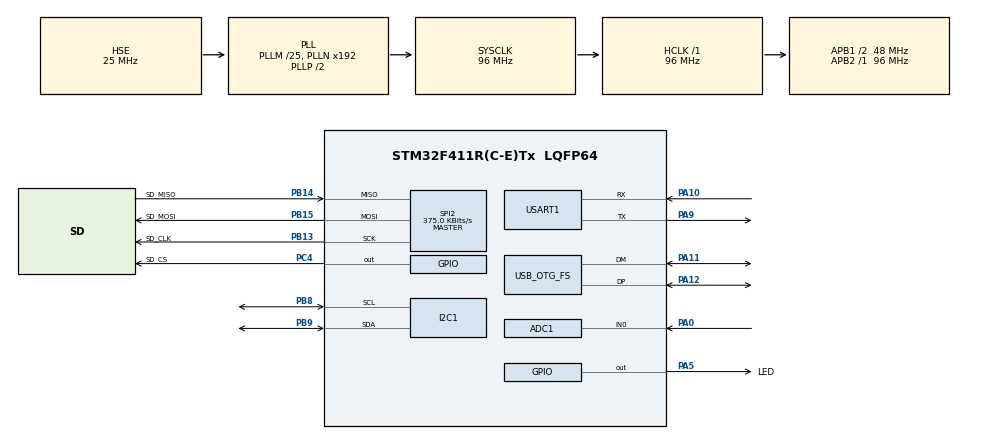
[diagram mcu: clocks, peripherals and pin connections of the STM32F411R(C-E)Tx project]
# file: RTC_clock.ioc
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ADC1.Channel-0\#ChannelRegularConversion=ADC_CHANNEL_0
ADC1.NbrOfConversionFlag=1
ADC1.Rank-0\#ChannelRegularConversion=1
ADC1.SamplingTime-0\#ChannelRegularConversion=ADC_SAMPLETIME_3CYCLES
ADC1.master=1
Dma.Request0=SPI2_RX
Dma.Request1=SPI2_TX
Dma.SPI2_RX.0.Direction=DMA_PERIPH_TO_MEMORY
Dma.SPI2_RX.0.FIFOMode=DMA_FIFOMODE_DISABLE
Dma.SPI2_RX.0.Instance=DMA1_Stream3
Dma.SPI2_RX.0.MemDataAlignment=DMA_MDATAALIGN_BYTE
Dma.SPI2_RX.0.MemInc=DMA_MINC_ENABLE
Dma.SPI2_RX.0.Mode=DMA_NORMAL
Dma.SPI2_RX.0.PeriphDataAlignment=DMA_PDATAALIGN_BYTE
Dma.SPI2_RX.0.PeriphInc=DMA_PINC_DISABLE
Dma.SPI2_RX.0.Priority=DMA_PRIORITY_LOW
Dma.SPI2_TX.1.Direction=DMA_MEMORY_TO_PERIPH
Dma.SPI2_TX.1.FIFOMode=DMA_FIFOMODE_DISABLE
Dma.SPI2_TX.1.Instance=DMA1_Stream4
Dma.SPI2_TX.1.MemDataAlignment=DMA_MDATAALIGN_BYTE
Dma.SPI2_TX.1.MemInc=DMA_MINC_ENABLE
Dma.SPI2_TX.1.Mode=DMA_NORMAL
Dma.SPI2_TX.1.PeriphDataAlignment=DMA_PDATAALIGN_BYTE
Dma.SPI2_TX.1.PeriphInc=DMA_PINC_DISABLE
Dma.SPI2_TX.1.Priority=DMA_PRIORITY_LOW
FATFS._CODE_PAGE=866
FATFS._FS_LOCK=5
FATFS._USE_LFN=1
I2C1.I2C_Mode=I2C_Fast
Mcu.Family=STM32F4
Mcu.Name=STM32F411R(C-E)Tx
Mcu.Package=LQFP64
NVIC.DMA1_Stream3_IRQn=true\:0\:0\:false\:false\:true\:false\:true\:true
NVIC.DMA1_Stream4_IRQn=true\:0\:0\:false\:false\:true\:false\:true\:true
NVIC.OTG_FS_IRQn=true\:0\:0\:false\:false\:true\:false\:true\:true
NVIC.PriorityGroup=NVIC_PRIORITYGROUP_4
PA0-WKUP.Signal=ADCx_IN0
PA10.Mode=Asynchronous
PA10.Signal=USART1_RX
PA11.Mode=Device_Only
PA11.Signal=USB_OTG_FS_DM
PA12.Mode=Device_Only
PA12.Signal=USB_OTG_FS_DP
PA13.Mode=Serial_Wire
PA13.Signal=SYS_JTMS-SWDIO
PA14.Mode=Serial_Wire
PA14.Signal=SYS_JTCK-SWCLK
PA5.GPIO_Label=LED
PA5.Signal=GPIO_Output
PA9.Mode=Asynchronous
PA9.Signal=USART1_TX
PB13.GPIO_Label=SD_CLK
PB13.Mode=Full_Duplex_Master
PB13.Signal=SPI2_SCK
PB14.GPIO_Label=SD_MISO
PB14.Mode=Full_Duplex_Master
PB14.Signal=SPI2_MISO
PB15.GPIO_Label=SD_MOSI
PB15.Mode=Full_Duplex_Master
PB15.Signal=SPI2_MOSI
PB8.Mode=I2C
PB8.Signal=I2C1_SCL
PB9.Mode=I2C
PB9.Signal=I2C1_SDA
PC14-OSC32_IN.Mode=LSE-External-Oscillator
PC14-OSC32_IN.Signal=RCC_OSC32_IN
PC15-OSC32_OUT.Mode=LSE-External-Oscillator
PC15-OSC32_OUT.Signal=RCC_OSC32_OUT
PC4.GPIO_Label=SD_CS
PC4.Signal=GPIO_Output
PH0\ -\ OSC_IN.Mode=HSE-External-Oscillator
PH0\ -\ OSC_IN.Signal=RCC_OSC_IN
PH1\ -\ OSC_OUT.Mode=HSE-External-Oscillator
PH1\ -\ OSC_OUT.Signal=RCC_OSC_OUT
ProjectManager.HeapSize=0x200
ProjectManager.StackSize=0x400
ProjectManager.TargetToolchain=STM32CubeIDE
RCC.48MHZClocksFreq_Value=48000000
RCC.AHBFreq_Value=96000000
RCC.APB1CLKDivider=RCC_HCLK_DIV2
RCC.APB1Freq_Value=48000000
RCC.APB1TimFreq_Value=96000000
RCC.APB2Freq_Value=96000000
RCC.APB2TimFreq_Value=96000000
RCC.CortexFreq_Value=96000000
RCC.EnbaleCSS=true
RCC.HCLKFreq_Value=96000000
RCC.HSE_VALUE=25000000
RCC.HSI_VALUE=16000000
RCC.PLLM=25
RCC.RCC_RTC_Clock_Source=RCC_RTCCLKSOURCE_LSE
RCC.RCC_RTC_Clock_SourceVirtual=RCC_RTCCLKSOURCE_LSE
RCC.SYSCLKFreq_VALUE=96000000
RCC.SYSCLKSource=RCC_SYSCLKSOURCE_PLLCLK
RCC.VCOOutputFreq_Value=192000000
RTC.Date=6
RTC.Hours=17
RTC.Minutes=44
RTC.Month=RTC_MONTH_SEPTEMBER
RTC.WeekDay=RTC_WEEKDAY_FRIDAY
RTC.Year=24
SH.ADCx_IN0.0=ADC1_IN0,IN0
SPI2.BaudRatePrescaler=SPI_BAUDRATEPRESCALER_128
SPI2.CalculateBaudRate=375.0 KBits/s
SPI2.Direction=SPI_DIRECTION_2LINES
SPI2.Mode=SPI_MODE_MASTER
SPI2.VirtualType=VM_MASTER
USART1.VirtualMode=VM_ASYNC
USB_DEVICE.CLASS_NAME_FS=MSC
USB_DEVICE.VirtualMode=Msc
USB_DEVICE.VirtualModeFS=Msc_FS
USB_OTG_FS.VirtualMode=Device_Only
VP_FATFS_VS_Generic.Mode=User_defined
VP_RTC_VS_RTC_Activate.Mode=RTC_Enabled
VP_RTC_VS_RTC_Calendar.Mode=RTC_Calendar
VP_USB_DEVICE_VS_USB_DEVICE_MSC_FS.Mode=MSC_FS
board=custom

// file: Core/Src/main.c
/* USER CODE BEGIN Header */
/**
  ******************************************************************************
  * @file           : main.c
  * @brief          : Main program body
  ******************************************************************************
  * @attention
  *
  * Copyright (c) 2024 STMicroelectronics.
  * All rights reserved.
  *
  * This software is licensed under terms that can be found in the LICENSE file
  * in the root directory of this software component.
  * If no LICENSE file comes with this software, it is provided AS-IS.
  *
  ******************************************************************************
  */
/* USER CODE END Header */
#include "main.h"
#include "fatfs.h"
#include "usb_device.h"

/* USER CODE BEGIN Includes */
#include "stdio.h"
#include "fonts.h"
#include "ssd1306.h"
#include <string.h>

/* USER CODE END Includes */

ADC_HandleTypeDef hadc1;

I2C_HandleTypeDef hi2c1;

RTC_HandleTypeDef hrtc;

SPI_HandleTypeDef hspi2;
DMA_HandleTypeDef hdma_spi2_rx;
DMA_HandleTypeDef hdma_spi2_tx;

UART_HandleTypeDef huart1;

void SystemClock_Config(void);
static void MX_GPIO_Init(void);
static void MX_DMA_Init(void);
static void MX_RTC_Init(void);
static void MX_USART1_UART_Init(void);
static void MX_I2C1_Init(void);
static void MX_ADC1_Init(void);
static void MX_SPI2_Init(void);

/* USER CODE BEGIN 0 */
void uprintf(char *str)
{
	HAL_UART_Transmit(&huart1, (uint8_t*) str, strlen(str), 100);
}

void set_time (uint8_t hr, uint8_t min, uint8_t sec)
{
	RTC_TimeTypeDef sTime = {0};

	sTime.Hours = hr;
	sTime.Minutes = min;
	sTime.Seconds = sec;
	sTime.DayLightSaving = RTC_DAYLIGHTSAVING_NONE;
	sTime.StoreOperation = RTC_STOREOPERATION_RESET;
	if (HAL_RTC_SetTime(&hrtc, &sTime, RTC_FORMAT_BIN) != HAL_OK)
	{
		Error_Handler();
	}
}

void set_date (uint8_t year, uint8_t month, uint8_t date, uint8_t day)  // monday = 1
{

	RTC_DateTypeDef sDate = {0};
	sDate.WeekDay = day;
	sDate.Month = month;
	sDate.Date = date;
	sDate.Year = year;
	if (HAL_RTC_SetDate(&hrtc, &sDate, RTC_FORMAT_BIN) != HAL_OK)
	{
		Error_Handler();
	}

}

void set_alarm (uint8_t hr, uint8_t min, uint8_t sec, uint8_t date)
{
	RTC_AlarmTypeDef sAlarm = {0};
	sAlarm.AlarmTime.Hours = hr;
	sAlarm.AlarmTime.Minutes = min;
	sAlarm.AlarmTime.Seconds = sec;
	sAlarm.AlarmTime.SubSeconds = 0;
	sAlarm.AlarmTime.DayLightSaving = RTC_DAYLIGHTSAVING_NONE;
	sAlarm.AlarmTime.StoreOperation = RTC_STOREOPERATION_RESET;
	sAlarm.AlarmMask = RTC_ALARMMASK_NONE;
	sAlarm.AlarmSubSecondMask = RTC_ALARMSUBSECONDMASK_ALL;
	sAlarm.AlarmDateWeekDaySel = RTC_ALARMDATEWEEKDAYSEL_DATE;
	sAlarm.AlarmDateWeekDay = date;
	sAlarm.Alarm = RTC_ALARM_A;
	if (HAL_RTC_SetAlarm_IT(&hrtc, &sAlarm, RTC_FORMAT_BIN) != HAL_OK)
	{
		Error_Handler();
	}
}

void get_time_date(char *time, char *date)
{
  RTC_DateTypeDef gDate;
  RTC_TimeTypeDef gTime;

  /* Get the RTC current Time */
  HAL_RTC_GetTime(&hrtc, &gTime, RTC_FORMAT_BIN);
  /* Get the RTC current Date */
  HAL_RTC_GetDate(&hrtc, &gDate, RTC_FORMAT_BIN);

  /* Display time Format: hh:mm:ss */
  sprintf((char*)time,"%02d:%02d:%02d",gTime.Hours, gTime.Minutes, gTime.Seconds);

  /* Display date Format: dd-mm-yyyy */
  sprintf((char*)date,"%02d-%02d-%2d",gDate.Date, gDate.Month, 2000 + gDate.Year);
}

void HAL_RTC_AlarmAEventCallback(RTC_HandleTypeDef *hrtc)
{
	HAL_GPIO_WritePin(GPIOA, GPIO_PIN_5, 1);  // turn the LED ON
}

char timeData[15];
char dateData[15];
int row = 0;
int col = 0;
/* USER CODE END 0 */

int main(void)
{

  /* MCU Configuration--------------------------------------------------------*/

  /* Reset of all peripherals, Initializes the Flash interface and the Systick. */
  HAL_Init();

  /* Configure the system clock */
  SystemClock_Config();

  /* Initialize all configured peripherals */
  MX_GPIO_Init();
  MX_DMA_Init();
  MX_RTC_Init();
  MX_USART1_UART_Init();
  MX_I2C1_Init();
  MX_ADC1_Init();
  MX_SPI2_Init();
  MX_FATFS_Init();
  MX_USB_DEVICE_Init();
  /* USER CODE BEGIN 2 */
  SSD1306_Init();
  uint16_t result = 0;
  float V;
  uint16_t measurement = 0;
  char volt[15];
  int first;
  int second;

  FIL file;
  FRESULT res1;
  char testBuffer[31];
  uint8_t space[1] = "\n";
  UINT bw;

  if (f_mount(&USERFatFS, USERPath, 0)!=FR_OK) // маунтим карточку
    {										   // если не ОК, тогда мигаем долго
  	 while (1)
  	 {
  		 HAL_GPIO_TogglePin(LED_GPIO_Port, LED_Pin);
  		 HAL_Delay(500);
  	 }
    }

  /* USER CODE END 2 */

  /* Infinite loop */
  /* USER CODE BEGIN WHILE */
  SSD1306_Clear();
  while (1)
  {
    /* USER CODE END WHILE */

    /* USER CODE BEGIN 3 */
	  get_time_date(timeData, dateData);
	  SSD1306_GotoXY(0,0);
	  SSD1306_Puts(timeData, &Font_11x18, 1);  //доступные шрифты Font_7x10, Font_11x18, Font_16x26
	  SSD1306_GotoXY(0,22);
	  SSD1306_Puts(dateData, &Font_11x18, 1);

	  HAL_ADC_Start(&hadc1);
	  HAL_ADC_PollForConversion(&hadc1, 100);
	  result = HAL_ADC_GetValue(&hadc1);
	  HAL_ADC_Stop(&hadc1);
	  V = ((float)result / (float)4090) * 3.3;
	  measurement++;

	  first = (int)V;
	  second = (int)((V-(int)V)*100);
	  sprintf(volt, "VOLT = %d.%d", first, second);

	  SSD1306_GotoXY(0,44);
	  SSD1306_Puts(volt, &Font_11x18, 1);  //доступные шрифты Font_7x10, Font_11x18, Font_16x26

	  res1 = f_open(&file, "logs.txt", FA_WRITE);  // пробуем открыть файл на карточке и разрешаем запись
	    if (res1!=FR_OK) 							   // если не ОК, тогда мигаем долго
	      {
	    	  while (1)
	    	  {
	    		 HAL_GPIO_TogglePin(LED_GPIO_Port, LED_Pin);
	    		 HAL_Delay(100);
	    	  }
	      }

	  res1 = f_lseek(&file, f_size(&file)); 	   // переносим курсор в конец файла, чтобы не стирать при записи старую запись

	  sprintf(testBuffer, "%s %s %s", timeData, dateData, volt);

	  if (f_size(&file) >= 1) {            		   // если что-то уже записано, тогда переходим ниже и пишем
	    	  res1 = f_write(&file, space, 1, &bw);
	    	  res1 = f_write(&file, testBuffer, 31, &bw);
	      }
	  if (f_size(&file) < 1) res1 = f_write(&file, testBuffer, 24, &bw); // если еще ничего не записано, тогда записываем без отступа

	  f_close(&file); 							   // после записи закрываем файл

	  HAL_Delay(100);
	  SSD1306_UpdateScreen();
  }
  /* USER CODE END 3 */
}

void SystemClock_Config(void)
{
  RCC_OscInitTypeDef RCC_OscInitStruct = {0};
  RCC_ClkInitTypeDef RCC_ClkInitStruct = {0};

  /** Configure the main internal regulator output voltage
  */
  __HAL_RCC_PWR_CLK_ENABLE();
  __HAL_PWR_VOLTAGESCALING_CONFIG(PWR_REGULATOR_VOLTAGE_SCALE1);

  /** Initializes the RCC Oscillators according to the specified parameters
  * in the RCC_OscInitTypeDef structure.
  */
  RCC_OscInitStruct.OscillatorType = RCC_OSCILLATORTYPE_HSE|RCC_OSCILLATORTYPE_LSE;
  RCC_OscInitStruct.HSEState = RCC_HSE_ON;
  RCC_OscInitStruct.LSEState = RCC_LSE_ON;
  RCC_OscInitStruct.PLL.PLLState = RCC_PLL_ON;
  RCC_OscInitStruct.PLL.PLLSource = RCC_PLLSOURCE_HSE;
  RCC_OscInitStruct.PLL.PLLM = 25;
  RCC_OscInitStruct.PLL.PLLN = 192;
  RCC_OscInitStruct.PLL.PLLP = RCC_PLLP_DIV2;
  RCC_OscInitStruct.PLL.PLLQ = 4;
  if (HAL_RCC_OscConfig(&RCC_OscInitStruct) != HAL_OK)
  {
    Error_Handler();
  }

  /** Initializes the CPU, AHB and APB buses clocks
  */
  RCC_ClkInitStruct.ClockType = RCC_CLOCKTYPE_HCLK|RCC_CLOCKTYPE_SYSCLK
                              |RCC_CLOCKTYPE_PCLK1|RCC_CLOCKTYPE_PCLK2;
  RCC_ClkInitStruct.SYSCLKSource = RCC_SYSCLKSOURCE_PLLCLK;
  RCC_ClkInitStruct.AHBCLKDivider = RCC_SYSCLK_DIV1;
  RCC_ClkInitStruct.APB1CLKDivider = RCC_HCLK_DIV2;
  RCC_ClkInitStruct.APB2CLKDivider = RCC_HCLK_DIV1;

  if (HAL_RCC_ClockConfig(&RCC_ClkInitStruct, FLASH_LATENCY_3) != HAL_OK)
  {
    Error_Handler();
  }

  /** Enables the Clock Security System
  */
  HAL_RCC_EnableCSS();
}

static void MX_ADC1_Init(void)
{

  ADC_ChannelConfTypeDef sConfig = {0};

  /** Configure the global features of the ADC (Clock, Resolution, Data Alignment and number of conversion)
  */
  hadc1.Instance = ADC1;
  hadc1.Init.ClockPrescaler = ADC_CLOCK_SYNC_PCLK_DIV4;
  hadc1.Init.Resolution = ADC_RESOLUTION_12B;
  hadc1.Init.ScanConvMode = DISABLE;
  hadc1.Init.ContinuousConvMode = DISABLE;
  hadc1.Init.DiscontinuousConvMode = DISABLE;
  hadc1.Init.ExternalTrigConvEdge = ADC_EXTERNALTRIGCONVEDGE_NONE;
  hadc1.Init.ExternalTrigConv = ADC_SOFTWARE_START;
  hadc1.Init.DataAlign = ADC_DATAALIGN_RIGHT;
  hadc1.Init.NbrOfConversion = 1;
  hadc1.Init.DMAContinuousRequests = DISABLE;
  hadc1.Init.EOCSelection = ADC_EOC_SINGLE_CONV;
  if (HAL_ADC_Init(&hadc1) != HAL_OK)
  {
    Error_Handler();
  }

  /** Configure for the selected ADC regular channel its corresponding rank in the sequencer and its sample time.
  */
  sConfig.Channel = ADC_CHANNEL_0;
  sConfig.Rank = 1;
  sConfig.SamplingTime = ADC_SAMPLETIME_3CYCLES;
  if (HAL_ADC_ConfigChannel(&hadc1, &sConfig) != HAL_OK)
  {
    Error_Handler();
  }

}

static void MX_I2C1_Init(void)
{

  hi2c1.Instance = I2C1;
  hi2c1.Init.ClockSpeed = 400000;
  hi2c1.Init.DutyCycle = I2C_DUTYCYCLE_2;
  hi2c1.Init.OwnAddress1 = 0;
  hi2c1.Init.AddressingMode = I2C_ADDRESSINGMODE_7BIT;
  hi2c1.Init.DualAddressMode = I2C_DUALADDRESS_DISABLE;
  hi2c1.Init.OwnAddress2 = 0;
  hi2c1.Init.GeneralCallMode = I2C_GENERALCALL_DISABLE;
  hi2c1.Init.NoStretchMode = I2C_NOSTRETCH_DISABLE;
  if (HAL_I2C_Init(&hi2c1) != HAL_OK)
  {
    Error_Handler();
  }

}

static void MX_RTC_Init(void)
{

  RTC_TimeTypeDef sTime = {0};
  RTC_DateTypeDef sDate = {0};

  /** Initialize RTC Only
  */
  hrtc.Instance = RTC;
  hrtc.Init.HourFormat = RTC_HOURFORMAT_24;
  hrtc.Init.AsynchPrediv = 127;
  hrtc.Init.SynchPrediv = 255;
  hrtc.Init.OutPut = RTC_OUTPUT_DISABLE;
  hrtc.Init.OutPutPolarity = RTC_OUTPUT_POLARITY_HIGH;
  hrtc.Init.OutPutType = RTC_OUTPUT_TYPE_OPENDRAIN;
  if (HAL_RTC_Init(&hrtc) != HAL_OK)
  {
    Error_Handler();
  }

  /** Initialize RTC and set the Time and Date
  */
  sTime.Hours = 0x17;
  sTime.Minutes = 0x44;
  sTime.Seconds = 0x0;
  sTime.DayLightSaving = RTC_DAYLIGHTSAVING_NONE;
  sTime.StoreOperation = RTC_STOREOPERATION_RESET;
  if (HAL_RTC_SetTime(&hrtc, &sTime, RTC_FORMAT_BCD) != HAL_OK)
  {
    Error_Handler();
  }
  sDate.WeekDay = RTC_WEEKDAY_FRIDAY;
  sDate.Month = RTC_MONTH_SEPTEMBER;
  sDate.Date = 0x6;
  sDate.Year = 0x24;

  if (HAL_RTC_SetDate(&hrtc, &sDate, RTC_FORMAT_BCD) != HAL_OK)
  {
    Error_Handler();
  }

}

static void MX_SPI2_Init(void)
{

  /* SPI2 parameter configuration*/
  hspi2.Instance = SPI2;
  hspi2.Init.Mode = SPI_MODE_MASTER;
  hspi2.Init.Direction = SPI_DIRECTION_2LINES;
  hspi2.Init.DataSize = SPI_DATASIZE_8BIT;
  hspi2.Init.CLKPolarity = SPI_POLARITY_LOW;
  hspi2.Init.CLKPhase = SPI_PHASE_1EDGE;
  hspi2.Init.NSS = SPI_NSS_SOFT;
  hspi2.Init.BaudRatePrescaler = SPI_BAUDRATEPRESCALER_128;
  hspi2.Init.FirstBit = SPI_FIRSTBIT_MSB;
  hspi2.Init.TIMode = SPI_TIMODE_DISABLE;
  hspi2.Init.CRCCalculation = SPI_CRCCALCULATION_DISABLE;
  hspi2.Init.CRCPolynomial = 10;
  if (HAL_SPI_Init(&hspi2) != HAL_OK)
  {
    Error_Handler();
  }

}

static void MX_USART1_UART_Init(void)
{

  huart1.Instance = USART1;
  huart1.Init.BaudRate = 115200;
  huart1.Init.WordLength = UART_WORDLENGTH_8B;
  huart1.Init.StopBits = UART_STOPBITS_1;
  huart1.Init.Parity = UART_PARITY_NONE;
  huart1.Init.Mode = UART_MODE_TX_RX;
  huart1.Init.HwFlowCtl = UART_HWCONTROL_NONE;
  huart1.Init.OverSampling = UART_OVERSAMPLING_16;
  if (HAL_UART_Init(&huart1) != HAL_OK)
  {
    Error_Handler();
  }

}

static void MX_DMA_Init(void)
{

  /* DMA controller clock enable */
  __HAL_RCC_DMA1_CLK_ENABLE();

  /* DMA interrupt init */
  /* DMA1_Stream3_IRQn interrupt configuration */
  HAL_NVIC_SetPriority(DMA1_Stream3_IRQn, 0, 0);
  HAL_NVIC_EnableIRQ(DMA1_Stream3_IRQn);
  /* DMA1_Stream4_IRQn interrupt configuration */
  HAL_NVIC_SetPriority(DMA1_Stream4_IRQn, 0, 0);
  HAL_NVIC_EnableIRQ(DMA1_Stream4_IRQn);

}

static void MX_GPIO_Init(void)
{
  GPIO_InitTypeDef GPIO_InitStruct = {0};

  /* GPIO Ports Clock Enable */
  __HAL_RCC_GPIOC_CLK_ENABLE();
  __HAL_RCC_GPIOH_CLK_ENABLE();
  __HAL_RCC_GPIOA_CLK_ENABLE();
  __HAL_RCC_GPIOB_CLK_ENABLE();

  /*Configure GPIO pin Output Level */
  HAL_GPIO_WritePin(LED_GPIO_Port, LED_Pin, GPIO_PIN_RESET);

  /*Configure GPIO pin Output Level */
  HAL_GPIO_WritePin(SD_CS_GPIO_Port, SD_CS_Pin, GPIO_PIN_RESET);

  /*Configure GPIO pin : LED_Pin */
  GPIO_InitStruct.Pin = LED_Pin;
  GPIO_InitStruct.Mode = GPIO_MODE_OUTPUT_PP;
  GPIO_InitStruct.Pull = GPIO_NOPULL;
  GPIO_InitStruct.Speed = GPIO_SPEED_FREQ_LOW;
  HAL_GPIO_Init(LED_GPIO_Port, &GPIO_InitStruct);

  /*Configure GPIO pin : SD_CS_Pin */
  GPIO_InitStruct.Pin = SD_CS_Pin;
  GPIO_InitStruct.Mode = GPIO_MODE_OUTPUT_PP;
  GPIO_InitStruct.Pull = GPIO_NOPULL;
  GPIO_InitStruct.Speed = GPIO_SPEED_FREQ_LOW;
  HAL_GPIO_Init(SD_CS_GPIO_Port, &GPIO_InitStruct);

}

void Error_Handler(void)
{
  __disable_irq();
  while (1)
  {
  }
}
